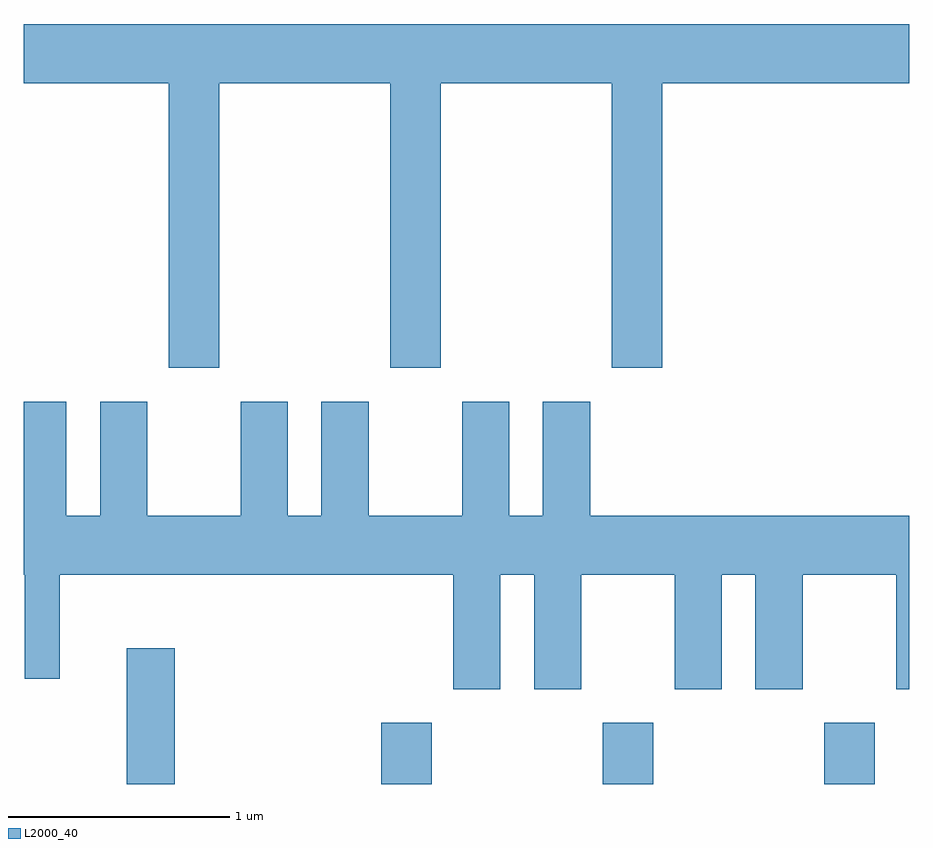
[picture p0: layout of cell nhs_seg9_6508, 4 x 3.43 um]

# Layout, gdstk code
import gdstk
lib = gdstk.Library(unit=1e-6, precision=1e-09)
def R(c, l, rs):  # rectangles x0, y0, x1, y1
    for r in rs: c.add(gdstk.rectangle(r[:2], r[2:], *l))
def A(c, l, x, y, w, h, nx, ny, dx, dy):  # array of equal rectangles
    R(c, l, [(x+i*dx, y+j*dy, x+i*dx+w, y+j*dy+h) for i in range(nx) for j in range(ny)])
def P(c, l, *ps):  # polygons
    for p in ps: c.add(gdstk.Polygon(p, *l))
L2000_40 = (2000, 40)

nhs_seg9_6508 = lib.new_cell('nhs_seg9_6508')
A(nhs_seg9_6508, L2000_40, 379.226, 1986.432, 0.228, 0.277, 3, 1, 1, 0)
R(nhs_seg9_6508, L2000_40, [(378.076,1986.432,378.294,1987.044)])
P(nhs_seg9_6508, L2000_40, [(377.611,1989.596),(378.266,1989.596),(378.266,1988.311),(378.494,1988.311),(378.494,1989.596),(379.266,1989.596),(379.266,1988.311),(379.494,1988.311),(379.494,1989.596),(380.266,1989.596),(380.266,1988.311),(380.494,1988.311),(380.494,1989.596),(381.611,1989.596),(381.611,1989.864),(377.611,1989.864)],
  [(380.169,1988.159),(379.956,1988.159),(379.956,1987.644),(379.804,1987.644),(379.804,1988.159),(379.591,1988.159),(379.591,1987.644),(379.169,1987.644),(379.169,1988.159),(378.956,1988.159),(378.956,1987.644),(378.804,1987.644),(378.804,1988.159),(378.591,1988.159),(378.591,1987.644),(378.169,1987.644),(378.169,1988.159),(377.956,1988.159),(377.956,1987.644),(377.804,1987.644),(377.804,1988.159),(377.611,1988.159),(377.611,1987.376),(377.616,1987.376),(377.616,1986.908),(377.774,1986.908),(377.774,1987.376),(379.551,1987.376),(379.551,1986.861),(379.764,1986.861),(379.764,1987.376),(379.916,1987.376),(379.916,1986.861),(380.129,1986.861),(380.129,1987.376),(380.551,1987.376),(380.551,1986.861),(380.764,1986.861),(380.764,1987.376),(380.916,1987.376),(380.916,1986.861),(381.129,1986.861),(381.129,1987.376),(381.551,1987.376),(381.551,1986.861),(381.611,1986.861),(381.611,1987.644),(380.169,1987.644)])

lib.write_gds('nhs_seg9_6508.gds')
